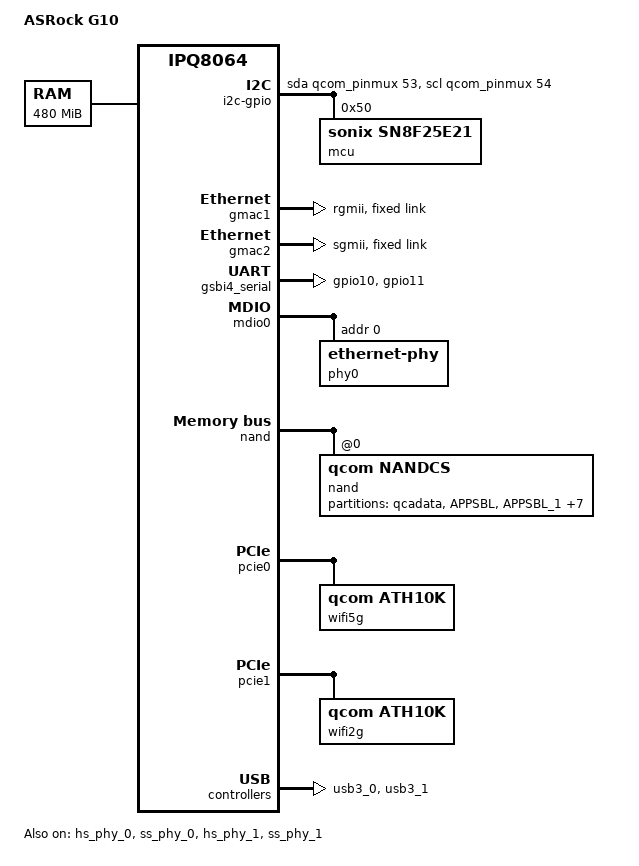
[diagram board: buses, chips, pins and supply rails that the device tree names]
// SPDX-License-Identifier: GPL-2.0
#include "qcom-ipq8064-v2.0-smb208.dtsi"

#include <dt-bindings/input/input.h>
#include <dt-bindings/soc/qcom,tcsr.h>

/ {
	compatible = "asrock,g10", "qcom,ipq8064";
	model = "ASRock G10";

	aliases {
		ethernet0 = &gmac1;
		ethernet1 = &gmac0;
	};

	memory@0 {
		reg = <0x42000000 0x1e000000>;
		device_type = "memory";
	};

	reserved-memory {
		#address-cells = <1>;
		#size-cells = <1>;
		ranges;
		rsvd@41200000 {
			reg = <0x41200000 0x300000>;
			no-map;
		};
	};

	chosen {
		bootargs-override = "console=ttyMSM0,115200n8 nohz_full=all rootfstype=squashfs noinitrd earlyprintk";
		stdout-path = "serial0:115200n8";
	};

	i2c-gpio {
		#address-cells = <1>;
		#size-cells = <0>;

		compatible = "i2c-gpio";
		gpios = <&qcom_pinmux 53 GPIO_ACTIVE_HIGH>, /* sda */
			<&qcom_pinmux 54 GPIO_ACTIVE_HIGH>; /* scl */
		i2c-gpio,delay-us = <5>;
		i2c-gpio,scl-output-only;

		mcu@50 {
			reg = <0x50>;
			compatible = "sonix,sn8f25e21";
		};
	};

};

&adm_dma {
	status = "okay";
};

&gmac1 {
	status = "okay";

	pinctrl-0 = <&rgmii2_pins>;
	pinctrl-names = "default";

	phy-mode = "rgmii";
	qcom,id = <1>;

	mtd-mac-address = <&art 6>;

	fixed-link {
		speed = <1000>;
		full-duplex;
	};
};

&gmac2 {
	status = "okay";

	phy-mode = "sgmii";
	qcom,id = <2>;

	mtd-mac-address = <&art 0>;

	fixed-link {
		speed = <1000>;
		full-duplex;
	};
};

&gsbi4_serial {
	pinctrl-0 = <&uart0_pins>;
	pinctrl-names = "default";
};

&mdio0 {
	status = "okay";

	pinctrl-0 = <&mdio0_pins>;
	pinctrl-names = "default";

	phy0: ethernet-phy@0 {
		reg = <0>;
		qca,ar8327-initvals = <
			0x00004 0x7600000   /* PAD0_MODE */
			0x00008 0x1000000   /* PAD5_MODE */
			0x0000c 0x80        /* PAD6_MODE */
			0x000e4 0x6a545     /* MAC_POWER_SEL */
			0x000e0 0xc74164de  /* SGMII_CTRL */
			0x0007c 0x4e        /* PORT0_STATUS */
			0x00094 0x4e        /* PORT6_STATUS */
			>;
	};
};

&nand {
	status = "okay";

	nand@0 {
		reg = <0>;
		compatible = "qcom,nandcs";

		nand-ecc-strength = <4>;
		nand-bus-width = <8>;
		nand-ecc-step-size = <512>;
		qcom,boot-partitions = <0x0 0x1200000 0x4340000 0x560000>;

				partitions {
					compatible = "fixed-partitions";
					#address-cells = <1>;
					#size-cells = <1>;
			
			qcadata@0 {
				label = "qcadata";
				reg = <0x0000000 0x0c80000>;
				read-only;
			};

			APPSBL@c80000 {
				label = "APPSBL";
				reg = <0x0c80000 0x0500000>;
				read-only;
			};

			APPSBL_1@43a0000 {
				label = "APPSBL_1";
				reg = <0x43a0000 0x0500000>;
				read-only;
			};

			APPSBLENV@1180000 {
				label = "APPSBLENV";
				reg = <0x1180000 0x0080000>;
			};

			BOOTCONFIG@4340000 {
				label = "BOOTCONFIG";
				reg = <0x4340000 0x0060000>;
			};

			art: art@1200000 {
				label = "art";
				reg = <0x1200000 0x0140000>;
			};

			firmware@1340000 {
				label = "linux";
				reg = <0x1340000 0x3000000>;
			};

			firmware2@48a0000 {
				label = "linux2";
				reg = <0x48a0000 0x3000000>;
			};

			nvram@78e0000 {
				label = "nvram";
				reg = <0x78e0000 0x40000>;
			};

			hwconfig@78a0000 {
				label = "hwconfig";
				reg = <0x78a0000 0x40000>;
			};


		};
	};
};

&pcie0 {
	status = "okay";

	bridge@0,0 {
		reg = <0x00000000 0 0 0 0>;
		#address-cells = <3>;
		#size-cells = <2>;
		ranges;

		wifi5g: wifi@1,0 {
			reg = <0x00010000 0 0 0 0>;
			compatible = "qcom,ath10k";
			qcom,ath10k-calibration-variant = "ASRock-G10";
		};
	};
};

&pcie1 {
	status = "okay";

	bridge@0,0 {
		reg = <0x00000000 0 0 0 0>;
		#address-cells = <3>;
		#size-cells = <2>;
		ranges;

		wifi2g: wifi@1,0 {
			reg = <0x00010000 0 0 0 0>;
			compatible = "qcom,ath10k";
			qcom,ath10k-calibration-variant = "ASRock-G10";
		};
	};
};

&qcom_pinmux {
	led_pins: led_pins {
		mux {
			pins = "gpio7", "gpio8", "gpio9", "gpio26";
			function = "gpio";
			drive-strength = <2>;
			bias-pull-up;
		};
	};

	button_pins: button_pins {
		mux {
			pins = "gpio15", "gpio16", "gpio64", "gpio65";
			function = "gpio";
			drive-strength = <2>;
			bias-pull-up;
		};
	};

	uart0_pins: uart0_pins {
		mux {
			pins = "gpio10", "gpio11";
			function = "gsbi4";
			drive-strength = <10>;
			bias-disable;
		};
	};
};

&rpm {
	pinctrl-0 = <&i2c4_pins>;
	pinctrl-names = "default";
};

&hs_phy_0 {
	status = "okay";
};

&ss_phy_0 {
	status = "okay";
};

&usb3_0 {
	status = "okay";
};

&hs_phy_1 {
	status = "okay";
};

&ss_phy_1 {
	status = "okay";
};

&usb3_1 {
	status = "okay";
};

&tcsr {
	qcom,usb-ctrl-select = <TCSR_USB_SELECT_USB3_DUAL>;
};

/delete-node/ &pcie2_pins;
/delete-node/ &pcie2;
